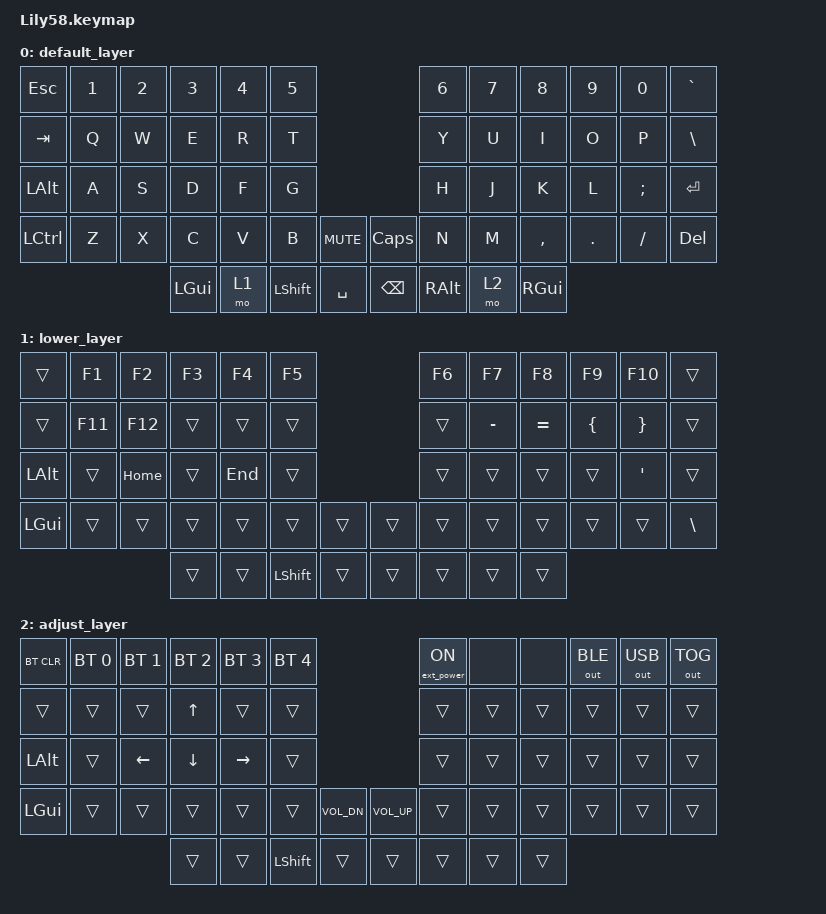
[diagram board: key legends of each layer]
/*
 * Copyright (c) 2020 The ZMK Contributors
 *
 * SPDX-License-Identifier: MIT
 */

#include <behaviors.dtsi>
#include <dt-bindings/zmk/bt.h>
#include <dt-bindings/zmk/ext_power.h>
#include <dt-bindings/zmk/keys.h>
#include <dt-bindings/zmk/outputs.h>

/ {
    // Activate ADJUST layer by pressing raise and lower

    conditional_layers {
        compatible = "zmk,conditional-layers";

        adjust_layer {
            if-layers = <1 2>;
            then-layer = <3>;
        };
    };

    keymap {
        compatible = "zmk,keymap";

        default_layer {
            // ------------------------------------------------------------------------------------------------------------
            // |  ESC  |  1  |  2  |  3   |  4   |  5   |                   |  6   |  7    |  8    |  9   |   0   |   `   |
            // |  TAB  |  Q  |  W  |  E   |  R   |  T   |                   |  Y   |  U    |  I    |  O   |   P   |   \   |
            // |  ALT  |  A  |  S  |  D   |  F   |  G   |                   |  H   |  J    |  K    |  L   |   ;   |  RET  |
            // | CTRL  |  Z  |  X  |  C   |  V   |  B   |  MUTE  |  | CAPS  |  N   |  M    |  ,    |  .   |   /   | DEL   |
            //                     | GUI  | L1   | SHIFT| SPACE  |  | BSPC  | ALTGR| L2    | GUI   |

            bindings = <
&kp ESC    &kp N1  &kp N2  &kp N3    &kp N4    &kp N5                                 &kp N6  &kp N7    &kp N8     &kp N9   &kp N0    &kp GRAVE
&kp TAB    &kp Q   &kp W   &kp E     &kp R     &kp T                                  &kp Y   &kp U     &kp I      &kp O    &kp P     &kp BSLH
&kp LALT   &kp A   &kp S   &kp D     &kp F     &kp G                                  &kp H   &kp J     &kp K      &kp L    &kp SEMI  &kp RET
&kp LCTRL  &kp Z   &kp X   &kp C     &kp V     &kp B   &kp C_MUTE    &kp CAPS          &kp N   &kp M     &kp COMMA  &kp DOT  &kp FSLH  &kp DEL
                           &kp LGUI  &mo 1     &kp LSHFT  &kp SPACE  &kp BSPC         &kp RALT  &mo 2    &kp RGUI
            >;
        };

        lower_layer {
            // ------------------------------------------------------------------------------------------------------------
            // |       | F1  | F2  | F3   | F4   | F5   |                   | F6   | F7    | F8    | F9   | F10   |       |
            // |       | F11 | F12 |      |      |      |                   |      | -     | =     | {    | }     |       |
            // |  ALT  |     |HOME |      | END  |      |                   |      |       |       |      | '     |       |
            // |  GUI  |     |     |      |      |      |        |  |       |      |       |       |      |       | \     |
            //                     |      |      |SHIFT |        |  |       |      |       |       |

            bindings = <
&trans    &kp F1   &kp F2    &kp F3    &kp F4   &kp F5                         &kp F6   &kp F7     &kp F8     &kp F9    &kp F10   &trans
&trans    &kp F11  &kp F12   &trans    &trans   &trans                         &trans   &kp MINUS  &kp EQUAL  &kp LBRC  &kp RBRC  &trans
&kp LALT  &trans   &kp HOME  &trans    &kp END  &trans                         &trans   &trans     &trans     &trans    &kp SQT   &trans
&kp LGUI  &trans   &trans    &trans    &trans   &trans       &trans    &trans  &trans   &trans     &trans     &trans    &trans    &kp BSLH
                                      &trans    &trans       &kp LSHFT &trans  &trans   &trans     &trans     &trans
            >;
        };

        adjust_layer {
            // ----------------------------------------------------------------------------------------------------------------------------
            // | BTCLR  |  BT1    |  BT2    |   BT3   |   BT4   |   BT5   |                  | EPON | EPOFF| EPTOG | BLE  | USB   | OUTTG |
            // |        |         |         |   UP    |         |         |                  |      |      |       |      |       |       |
            // |  ALT   |         | LEFT    |   DOWN  |  RIGHT  |         |                  |      |      |       |      |       |       |
            // |  GUI   |         |         |         |         |         | VOL DN  | |VOL UP|      |      |       |      |       |       |
            //                    |         |         | SHIFT   |         |         | |      |      |      |       |      |

            bindings = <
&bt BT_CLR  &bt BT_SEL 0  &bt BT_SEL 1  &bt BT_SEL 2  &bt BT_SEL 3  &bt BT_SEL 4                    &ext_power EP_ON  &none  &none  &out OUT_BLE  &out OUT_USB  &out OUT_TOG
&trans      &trans        &trans        &kp UP        &trans        &trans                          &trans  &trans  &trans  &trans  &trans  &trans
&kp LALT    &trans        &kp LEFT      &kp DOWN      &kp RIGHT     &trans                          &trans  &trans  &trans  &trans  &trans  &trans
&kp LGUI    &trans        &trans        &trans        &trans        &trans        &kp C_VOL_DN  &kp C_VOL_UP  &trans  &trans  &trans  &trans  &trans  &trans
                                        &trans        &trans        &kp LSHFT    &trans        &trans        &trans  &trans  &trans
            >;
        };

        extra1 { status = "reserved"; };

        extra2 { status = "reserved"; };

        extra3 { status = "reserved"; };

        extra4 { status = "reserved"; };

        extra5 { status = "reserved"; };
    };
};
